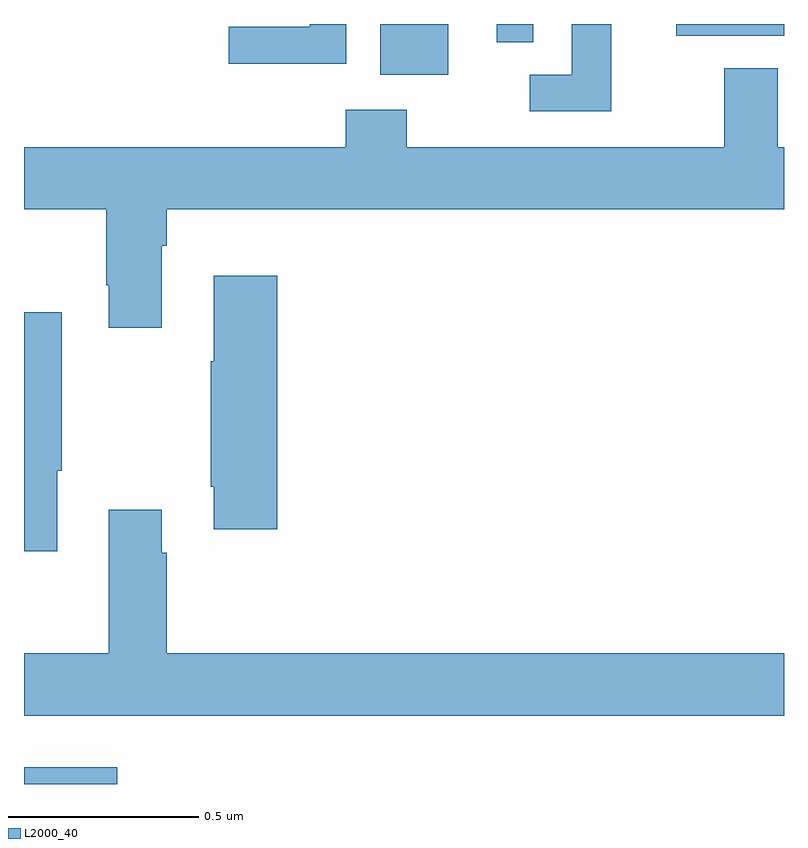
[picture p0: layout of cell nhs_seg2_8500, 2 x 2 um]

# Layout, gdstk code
import gdstk
lib = gdstk.Library(unit=1e-6, precision=1e-09)
def R(c, l, rs):  # rectangles x0, y0, x1, y1
    for r in rs: c.add(gdstk.rectangle(r[:2], r[2:], *l))
def P(c, l, *ps):  # polygons
    for p in ps: c.add(gdstk.Polygon(p, *l))
L2000_40 = (2000, 40)

nhs_seg2_8500 = lib.new_cell('nhs_seg2_8500')
R(nhs_seg2_8500, L2000_40, [(217,636.8,217.246,636.844), (217.937,638.666,218.116,638.8), (218.244,638.752,218.34,638.8), (218.717,638.769,219,638.8)])
P(nhs_seg2_8500, L2000_40, [(218.545,638.8),(218.441,638.8),(218.441,638.667),(218.331,638.667),(218.331,638.571),(218.545,638.571)],
  [(217.848,638.8),(217.752,638.8),(217.752,638.793),(217.539,638.793),(217.539,638.695),(217.848,638.695)],
  [(217.363,638.216),(217.376,638.216),(217.376,638.312),(219,638.312),(219,638.476),(218.983,638.476),(218.983,638.684),(218.843,638.684),(218.843,638.476),(218.007,638.476),(218.007,638.575),(217.847,638.575),(217.847,638.476),(217,638.476),(217,638.312),(217.216,638.312),(217.216,638.113),(217.223,638.113),(217.223,638.001),(217.363,638.001)],
  [(217.667,638.137),(217.499,638.137),(217.499,637.913),(217.492,637.913),(217.492,637.582),(217.499,637.582),(217.499,637.47),(217.667,637.47)],
  [(217.087,637.625),(217.099,637.625),(217.099,638.041),(217,638.041),(217,637.413),(217.087,637.413)],
  [(219,637.144),(217.376,637.144),(217.376,637.409),(217.363,637.409),(217.363,637.522),(217.223,637.522),(217.223,637.144),(217,637.144),(217,636.98),(219,636.98)])

lib.write_gds('nhs_seg2_8500.gds')
